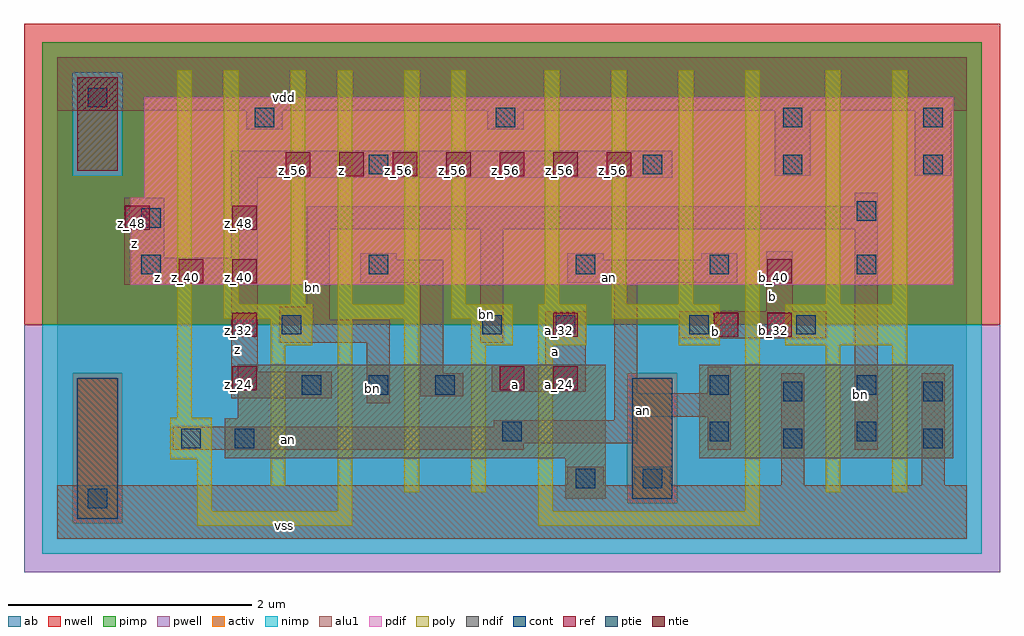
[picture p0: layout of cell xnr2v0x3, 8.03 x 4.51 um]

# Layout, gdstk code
import gdstk
lib = gdstk.Library(unit=1e-6, precision=2.5e-09)
def R(c, l, rs):  # rectangles x0, y0, x1, y1
    for r in rs: c.add(gdstk.rectangle(r[:2], r[2:], *l))
def A(c, l, x, y, w, h, nx, ny, dx, dy):  # array of equal rectangles
    R(c, l, [(x+i*dx, y+j*dy, x+i*dx+w, y+j*dy+h) for i in range(nx) for j in range(ny)])
ndif = (3, 0)
pdif = (4, 0)
ntie = (5, 0)
ptie = (6, 0)
ref = (24, 0)
cont = (25, 0)
pwell = (41, 0)
nwell = (42, 0)
activ = (43, 0)
pimp = (44, 0)
nimp = (45, 0)
poly = (46, 0)
alu1 = (49, 0)
ab = (63, 0)

xnr2v0x3 = lib.new_cell('xnr2v0x3')
R(xnr2v0x3, ndif, [(4.18,0.33,4.51,0.66), (1.375,0.66,4.51,0.99), (5.28,0.66,7.37,1.43), (1.485,0.99,4.51,1.43)])
R(xnr2v0x3, pdif, [(0.605,2.09,7.37,2.805), (0.715,2.805,7.37,3.63)])
R(xnr2v0x3, ntie, [(0.165,3.025,0.495,3.795)])
R(xnr2v0x3, ptie, [(0.165,0.165,0.495,1.32), (4.73,0.33,5.06,1.32)])
A(xnr2v0x3, ref, 1.44, 1.22, 0.2, 0.2, 1, 4, 0, 0.44)
A(xnr2v0x3, ref, 1.88, 2.98, 0.2, 0.2, 7, 1, 0.44, 0)
R(xnr2v0x3, ref, [(3.64,1.22,3.84,1.42), (4.08,1.22,4.28,1.42), (4.08,1.66,4.28,1.86), (5.4,1.66,5.6,1.86), (5.84,1.66,6.04,1.86), (1,2.1,1.2,2.3), (5.84,2.1,6.04,2.3), (0.56,2.54,0.76,2.74)])
A(xnr2v0x3, cont, 2.01, 1.185, 0.16, 0.16, 3, 1, 0.55, 0)
A(xnr2v0x3, cont, 4.815, 3, 0.16, 0.16, 3, 1, 1.155, 0)
R(xnr2v0x3, cont, [(0.25,0.25,0.41,0.41), (4.265,0.415,4.425,0.575), (4.815,0.415,4.975,0.575), (1.02,0.745,1.18,0.905), (1.46,0.745,1.62,0.905), (5.97,0.745,6.13,0.905), (7.125,0.745,7.285,0.905), (3.66,0.8,3.82,0.96), (5.365,0.8,5.525,0.96), (6.575,0.8,6.735,0.96), (5.97,1.13,6.13,1.29), (7.125,1.13,7.285,1.29), (5.365,1.185,5.525,1.345), (6.575,1.185,6.735,1.345), (1.845,1.68,2.005,1.84), (3.495,1.68,3.655,1.84), (4.1,1.68,4.26,1.84), (5.2,1.68,5.36,1.84), (6.08,1.68,6.24,1.84), (0.69,2.175,0.85,2.335), (2.56,2.175,2.72,2.335), (4.265,2.175,4.425,2.335), (5.365,2.175,5.525,2.335), (6.575,2.175,6.735,2.335), (0.69,2.56,0.85,2.72), (6.575,2.615,6.735,2.775), (2.56,3,2.72,3.16), (1.625,3.385,1.785,3.545), (3.605,3.385,3.765,3.545), (5.97,3.385,6.13,3.545), (7.125,3.385,7.285,3.545), (0.25,3.55,0.41,3.71)])
R(xnr2v0x3, pwell, [(-0.275,-0.275,7.755,1.76)])
R(xnr2v0x3, nwell, [(-0.275,1.76,7.755,4.235)])
R(xnr2v0x3, activ, [(0.165,0.165,0.495,1.32), (4.18,0.33,4.51,0.66), (4.73,0.33,5.06,1.32), (1.375,0.66,4.51,0.99), (5.28,0.66,7.37,1.43), (1.485,0.99,4.51,1.43), (0.605,2.09,7.37,2.805), (0.715,2.805,7.37,3.63), (0.165,3.025,0.495,3.795)])
R(xnr2v0x3, pimp, [(0.125,0.125,0.535,1.36), (4.69,0.29,5.1,1.36), (-0.125,1.76,7.605,2.985), (-0.125,2.985,0.125,3.835), (0.535,2.985,7.605,3.835), (-0.125,3.835,7.605,4.085)])
R(xnr2v0x3, nimp, [(-0.125,-0.125,7.605,0.125), (-0.125,0.125,0.125,1.36), (0.535,0.125,7.605,0.29), (0.535,0.29,4.69,1.36), (5.1,0.29,7.605,1.36), (-0.125,1.36,7.605,1.76), (0.125,2.985,0.535,3.835)])
A(xnr2v0x3, poly, 4.01, 1.93, 0.12, 1.925, 3, 1, 0.55, 0)
R(xnr2v0x3, poly, [(1.15,0.105,2.425,0.225), (3.955,0.105,5.78,0.225), (1.15,0.225,1.27,0.655), (2.305,0.225,2.425,1.81), (3.955,0.225,4.075,1.59), (5.66,0.225,5.78,3.855), (2.855,0.38,2.975,1.81), (3.405,0.38,3.525,1.59), (6.32,0.38,6.44,1.59), (6.87,0.38,6.99,1.59), (1.755,0.435,1.875,1.59), (0.93,0.655,1.27,0.995), (0.985,0.995,1.105,3.855), (1.755,1.59,2.095,1.81), (3.405,1.59,3.745,1.81), (3.955,1.59,4.35,1.93), (5.11,1.59,5.45,1.81), (5.99,1.59,6.99,1.93), (1.37,1.81,2.095,1.93), (2.305,1.81,2.975,1.93), (3.24,1.81,3.745,1.93), (4.56,1.81,5.45,1.93), (1.37,1.93,1.49,3.855), (1.92,1.93,2.04,3.855), (2.305,1.93,2.425,3.855), (2.855,1.93,2.975,3.855), (3.24,1.93,3.36,3.855), (6.32,1.93,6.44,3.855), (6.87,1.93,6.99,3.855)])
R(xnr2v0x3, alu1, [(0,0,7.48,0.44), (4.195,0.44,4.495,0.59), (4.745,0.44,5.045,0.59), (5.955,0.44,6.145,1.36), (7.11,0.44,7.3,1.36), (0.95,0.73,3.835,0.785), (5.35,0.73,5.54,1.005), (6.56,0.73,6.75,2.545), (0.95,0.785,4.77,0.92), (3.59,0.92,4.77,0.975), (4.58,0.975,4.77,1.005), (4.58,1.005,5.54,1.195), (2.545,1.115,2.735,1.61), (1.43,1.155,2.255,1.375), (2.985,1.17,3.34,1.36), (4.58,1.195,4.77,2.105), (5.35,1.195,5.54,1.415), (3.575,1.21,4.345,1.43), (2.985,1.36,3.175,2.105), (1.43,1.375,1.65,2.09), (4.015,1.43,4.345,1.87), (1.83,1.61,2.735,1.8), (3.48,1.61,3.67,2.545), (5.115,1.65,6.325,1.87), (1.83,1.8,2.24,1.91), (5.83,1.87,6.05,2.365), (2.05,1.91,2.24,2.545), (0.55,2.09,1.65,2.31), (2.49,2.105,3.175,2.295), (4.195,2.105,5.595,2.295), (2.49,2.295,2.79,2.35), (4.195,2.295,4.495,2.35), (5.295,2.295,5.595,2.35), (0.55,2.31,0.88,2.805), (1.43,2.31,1.65,2.97), (2.05,2.545,6.75,2.735), (6.56,2.735,6.75,2.845), (1.43,2.97,5.06,3.19), (5.9,2.985,6.2,3.52), (7.055,2.985,7.355,3.52), (1.555,3.37,1.855,3.52), (3.535,3.37,3.835,3.52), (0,3.52,7.48,3.96)])
R(xnr2v0x3, ab, [(0,0,7.48,3.96)])
xnr2v0x3.add(gdstk.Label('vss', (1.87,0.11), layer=49, texttype=0))
xnr2v0x3.add(gdstk.Label('bn', (6.6075,1.1825), layer=49, texttype=0))
xnr2v0x3.add(gdstk.Label('an', (1.905,0.8175), layer=49, texttype=0))
xnr2v0x3.add(gdstk.Label('an', (4.82,1.0525), layer=49, texttype=0))
xnr2v0x3.add(gdstk.Label('b', (5.4175,1.705), layer=49, texttype=0))
xnr2v0x3.add(gdstk.Label('b', (5.885,1.9925), layer=49, texttype=0))
xnr2v0x3.add(gdstk.Label('a', (3.7675,1.265), layer=49, texttype=0))
xnr2v0x3.add(gdstk.Label('a', (4.0975,1.54), layer=49, texttype=0))
xnr2v0x3.add(gdstk.Label('an', (4.545,2.1525), layer=49, texttype=0))
xnr2v0x3.add(gdstk.Label('bn', (3.5275,1.8425), layer=49, texttype=0))
xnr2v0x3.add(gdstk.Label('bn', (2.5925,1.2375), layer=49, texttype=0))
xnr2v0x3.add(gdstk.Label('bn', (2.0975,2.0675), layer=49, texttype=0))
xnr2v0x3.add(gdstk.Label('z', (1.485,1.5525), layer=49, texttype=0))
xnr2v0x3.add(gdstk.Label('z', (0.825,2.145), layer=49, texttype=0))
xnr2v0x3.add(gdstk.Label('z', (0.6325,2.4325), layer=49, texttype=0))
xnr2v0x3.add(gdstk.Label('z', (2.3375,3.025), layer=49, texttype=0))
xnr2v0x3.add(gdstk.Label('vdd', (1.87,3.63), layer=49, texttype=0))
xnr2v0x3.add(gdstk.Label('a_24', (4.13,1.27), layer=24, texttype=0))
xnr2v0x3.add(gdstk.Label('a_32', (4.13,1.71), layer=24, texttype=0))
xnr2v0x3.add(gdstk.Label('a_24', (3.69,1.27), layer=24, texttype=0))
xnr2v0x3.add(gdstk.Label('b_32', (5.45,1.71), layer=24, texttype=0))
xnr2v0x3.add(gdstk.Label('b_32', (5.89,1.71), layer=24, texttype=0))
xnr2v0x3.add(gdstk.Label('b_40', (5.89,2.15), layer=24, texttype=0))
xnr2v0x3.add(gdstk.Label('z_24', (1.49,1.27), layer=24, texttype=0))
xnr2v0x3.add(gdstk.Label('z_40', (1.49,2.15), layer=24, texttype=0))
xnr2v0x3.add(gdstk.Label('z_40', (1.05,2.15), layer=24, texttype=0))
xnr2v0x3.add(gdstk.Label('z_48', (0.61,2.59), layer=24, texttype=0))
xnr2v0x3.add(gdstk.Label('z_32', (1.49,1.71), layer=24, texttype=0))
xnr2v0x3.add(gdstk.Label('z_48', (1.49,2.59), layer=24, texttype=0))
xnr2v0x3.add(gdstk.Label('z_56', (1.93,3.03), layer=24, texttype=0))
xnr2v0x3.add(gdstk.Label('z_56', (4.57,3.03), layer=24, texttype=0))
xnr2v0x3.add(gdstk.Label('z_56', (2.37,3.03), layer=24, texttype=0))
xnr2v0x3.add(gdstk.Label('z_56', (2.81,3.03), layer=24, texttype=0))
xnr2v0x3.add(gdstk.Label('z_56', (3.25,3.03), layer=24, texttype=0))
xnr2v0x3.add(gdstk.Label('z_56', (3.69,3.03), layer=24, texttype=0))
xnr2v0x3.add(gdstk.Label('z_56', (4.13,3.03), layer=24, texttype=0))

lib.write_gds('xnr2v0x3.gds')
